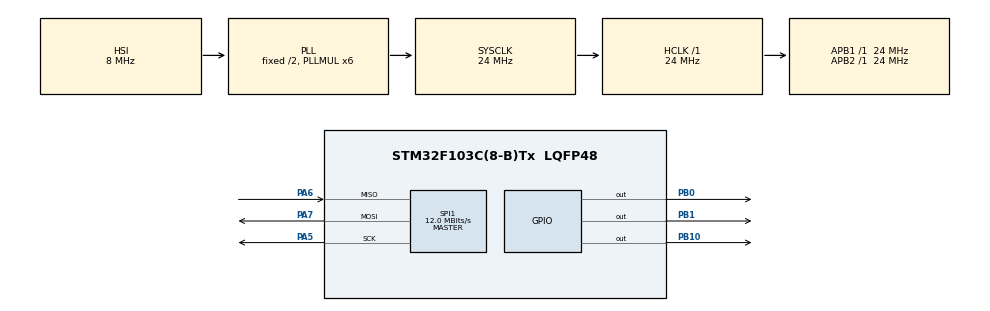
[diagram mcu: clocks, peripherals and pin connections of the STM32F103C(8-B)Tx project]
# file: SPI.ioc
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Mcu.Family=STM32F1
Mcu.Name=STM32F103C(8-B)Tx
Mcu.Package=LQFP48
NVIC.PriorityGroup=NVIC_PRIORITYGROUP_4
PA13.Mode=Serial_Wire
PA13.Signal=SYS_JTMS-SWDIO
PA14.Mode=Serial_Wire
PA14.Signal=SYS_JTCK-SWCLK
PA5.Mode=Full_Duplex_Master
PA5.Signal=SPI1_SCK
PA6.Mode=Full_Duplex_Master
PA6.Signal=SPI1_MISO
PA7.Mode=Full_Duplex_Master
PA7.Signal=SPI1_MOSI
PB0.Signal=GPIO_Output
PB1.Signal=GPIO_Output
PB10.Signal=GPIO_Output
PD0-OSC_IN.Mode=HSE-External-Oscillator
PD0-OSC_IN.Signal=RCC_OSC_IN
PD1-OSC_OUT.Mode=HSE-External-Oscillator
PD1-OSC_OUT.Signal=RCC_OSC_OUT
ProjectManager.HeapSize=0x200
ProjectManager.StackSize=0x400
ProjectManager.TargetToolchain=MDK-ARM V5.32
RCC.AHBFreq_Value=24000000
RCC.APB1Freq_Value=24000000
RCC.APB1TimFreq_Value=24000000
RCC.APB2Freq_Value=24000000
RCC.APB2TimFreq_Value=24000000
RCC.HCLKFreq_Value=24000000
RCC.PLLMUL=RCC_PLL_MUL6
RCC.SYSCLKFreq_VALUE=24000000
RCC.SYSCLKSource=RCC_SYSCLKSOURCE_PLLCLK
RCC.USBFreq_Value=24000000
SPI1.CalculateBaudRate=12.0 MBits/s
SPI1.Direction=SPI_DIRECTION_2LINES
SPI1.Mode=SPI_MODE_MASTER
SPI1.VirtualType=VM_MASTER
board=custom

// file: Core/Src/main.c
/* USER CODE BEGIN Header */
/**
  ******************************************************************************
  * @file           : main.c
  * @brief          : Main program body
  ******************************************************************************
  * @attention
  *
  * Copyright (c) 2026 STMicroelectronics.
  * All rights reserved.
  *
  * This software is licensed under terms that can be found in the LICENSE file
  * in the root directory of this software component.
  * If no LICENSE file comes with this software, it is provided AS-IS.
  *
  ******************************************************************************
  */
/* USER CODE END Header */
#include "main.h"

SPI_HandleTypeDef hspi1;

void SystemClock_Config(void);
static void MX_GPIO_Init(void);
static void MX_SPI1_Init(void);

/* USER CODE BEGIN 0 */
void writeCMDTFT(uint8_t cmd) {
	HAL_GPIO_WritePin(GPIOB,GPIO_PIN_0,0); //cs = 0
	HAL_GPIO_WritePin(GPIOB,GPIO_PIN_1,0); // A0 = 0 -> CMD
	HAL_SPI_Transmit(&hspi1,&cmd,1,1000);
	HAL_GPIO_WritePin(GPIOB,GPIO_PIN_0,1); //cs = 1
}

void writeDATATFT(uint8_t data) {
	HAL_GPIO_WritePin(GPIOB,GPIO_PIN_0,0);
	HAL_GPIO_WritePin(GPIOB,GPIO_PIN_1,1);//A0 = 1 -> DATA
	HAL_SPI_Transmit(&hspi1,&data,1,1000);
	HAL_GPIO_WritePin(GPIOB,GPIO_PIN_0,1);
}

#define LCD_CMD_END 0xFF

typedef struct{
  uint8_t with;
	uint8_t height;
	const uint16_t *data;
}FonDef;

static const uint16_t Font7x10 [] = {
0x0000, 0x0000, 0x0000, 0x0000, 0x0000, 0x0000, 0x0000, 0x0000, 0x0000, 0x0000,  // sp
0x1000, 0x1000, 0x1000, 0x1000, 0x1000, 0x1000, 0x0000, 0x1000, 0x0000, 0x0000,  // !
0x2800, 0x2800, 0x2800, 0x0000, 0x0000, 0x0000, 0x0000, 0x0000, 0x0000, 0x0000,  // "
0x2400, 0x2400, 0x7C00, 0x2400, 0x4800, 0x7C00, 0x4800, 0x4800, 0x0000, 0x0000,  // #
0x3800, 0x5400, 0x5000, 0x3800, 0x1400, 0x5400, 0x5400, 0x3800, 0x1000, 0x0000,  // $
0x2000, 0x5400, 0x5800, 0x3000, 0x2800, 0x5400, 0x1400, 0x0800, 0x0000, 0x0000,  // %
0x1000, 0x2800, 0x2800, 0x1000, 0x3400, 0x4800, 0x4800, 0x3400, 0x0000, 0x0000,  // &
0x1000, 0x1000, 0x1000, 0x0000, 0x0000, 0x0000, 0x0000, 0x0000, 0x0000, 0x0000,  // '
0x0800, 0x1000, 0x2000, 0x2000, 0x2000, 0x2000, 0x2000, 0x2000, 0x1000, 0x0800,  // (
0x2000, 0x1000, 0x0800, 0x0800, 0x0800, 0x0800, 0x0800, 0x0800, 0x1000, 0x2000,  // )
0x1000, 0x3800, 0x1000, 0x2800, 0x0000, 0x0000, 0x0000, 0x0000, 0x0000, 0x0000,  // *
0x0000, 0x0000, 0x1000, 0x1000, 0x7C00, 0x1000, 0x1000, 0x0000, 0x0000, 0x0000,  // +
0x0000, 0x0000, 0x0000, 0x0000, 0x0000, 0x0000, 0x0000, 0x1000, 0x1000, 0x1000,  // ,
0x0000, 0x0000, 0x0000, 0x0000, 0x0000, 0x3800, 0x0000, 0x0000, 0x0000, 0x0000,  // -
0x0000, 0x0000, 0x0000, 0x0000, 0x0000, 0x0000, 0x0000, 0x1000, 0x0000, 0x0000,  // .
0x0800, 0x0800, 0x1000, 0x1000, 0x1000, 0x1000, 0x2000, 0x2000, 0x0000, 0x0000,  // /
0x3800, 0x4400, 0x4400, 0x5400, 0x4400, 0x4400, 0x4400, 0x3800, 0x0000, 0x0000,  // 0
0x1000, 0x3000, 0x5000, 0x1000, 0x1000, 0x1000, 0x1000, 0x1000, 0x0000, 0x0000,  // 1
0x3800, 0x4400, 0x4400, 0x0400, 0x0800, 0x1000, 0x2000, 0x7C00, 0x0000, 0x0000,  // 2
0x3800, 0x4400, 0x0400, 0x1800, 0x0400, 0x0400, 0x4400, 0x3800, 0x0000, 0x0000,  // 3
0x0800, 0x1800, 0x2800, 0x2800, 0x4800, 0x7C00, 0x0800, 0x0800, 0x0000, 0x0000,  // 4
0x7C00, 0x4000, 0x4000, 0x7800, 0x0400, 0x0400, 0x4400, 0x3800, 0x0000, 0x0000,  // 5
0x3800, 0x4400, 0x4000, 0x7800, 0x4400, 0x4400, 0x4400, 0x3800, 0x0000, 0x0000,  // 6
0x7C00, 0x0400, 0x0800, 0x1000, 0x1000, 0x2000, 0x2000, 0x2000, 0x0000, 0x0000,  // 7
0x3800, 0x4400, 0x4400, 0x3800, 0x4400, 0x4400, 0x4400, 0x3800, 0x0000, 0x0000,  // 8
0x3800, 0x4400, 0x4400, 0x4400, 0x3C00, 0x0400, 0x4400, 0x3800, 0x0000, 0x0000,  // 9
0x0000, 0x0000, 0x1000, 0x0000, 0x0000, 0x0000, 0x0000, 0x1000, 0x0000, 0x0000,  // :
0x0000, 0x0000, 0x0000, 0x1000, 0x0000, 0x0000, 0x0000, 0x1000, 0x1000, 0x1000,  // ;
0x0000, 0x0000, 0x0C00, 0x3000, 0x4000, 0x3000, 0x0C00, 0x0000, 0x0000, 0x0000,  // <
0x0000, 0x0000, 0x0000, 0x7C00, 0x0000, 0x7C00, 0x0000, 0x0000, 0x0000, 0x0000,  // =
0x0000, 0x0000, 0x6000, 0x1800, 0x0400, 0x1800, 0x6000, 0x0000, 0x0000, 0x0000,  // >
0x3800, 0x4400, 0x0400, 0x0800, 0x1000, 0x1000, 0x0000, 0x1000, 0x0000, 0x0000,  // ?
0x3800, 0x4400, 0x4C00, 0x5400, 0x5C00, 0x4000, 0x4000, 0x3800, 0x0000, 0x0000,  // @
0x1000, 0x2800, 0x2800, 0x2800, 0x2800, 0x7C00, 0x4400, 0x4400, 0x0000, 0x0000,  // A
0x7800, 0x4400, 0x4400, 0x7800, 0x4400, 0x4400, 0x4400, 0x7800, 0x0000, 0x0000,  // B
0x3800, 0x4400, 0x4000, 0x4000, 0x4000, 0x4000, 0x4400, 0x3800, 0x0000, 0x0000,  // C
0x7000, 0x4800, 0x4400, 0x4400, 0x4400, 0x4400, 0x4800, 0x7000, 0x0000, 0x0000,  // D
0x7C00, 0x4000, 0x4000, 0x7C00, 0x4000, 0x4000, 0x4000, 0x7C00, 0x0000, 0x0000,  // E
0x7C00, 0x4000, 0x4000, 0x7800, 0x4000, 0x4000, 0x4000, 0x4000, 0x0000, 0x0000,  // F
0x3800, 0x4400, 0x4000, 0x4000, 0x5C00, 0x4400, 0x4400, 0x3800, 0x0000, 0x0000,  // G
0x4400, 0x4400, 0x4400, 0x7C00, 0x4400, 0x4400, 0x4400, 0x4400, 0x0000, 0x0000,  // H
0x3800, 0x1000, 0x1000, 0x1000, 0x1000, 0x1000, 0x1000, 0x3800, 0x0000, 0x0000,  // I
0x0400, 0x0400, 0x0400, 0x0400, 0x0400, 0x0400, 0x4400, 0x3800, 0x0000, 0x0000,  // J
0x4400, 0x4800, 0x5000, 0x6000, 0x5000, 0x4800, 0x4800, 0x4400, 0x0000, 0x0000,  // K
0x4000, 0x4000, 0x4000, 0x4000, 0x4000, 0x4000, 0x4000, 0x7C00, 0x0000, 0x0000,  // L
0x4400, 0x6C00, 0x6C00, 0x5400, 0x4400, 0x4400, 0x4400, 0x4400, 0x0000, 0x0000,  // M
0x4400, 0x6400, 0x6400, 0x5400, 0x5400, 0x4C00, 0x4C00, 0x4400, 0x0000, 0x0000,  // N
0x3800, 0x4400, 0x4400, 0x4400, 0x4400, 0x4400, 0x4400, 0x3800, 0x0000, 0x0000,  // O
0x7800, 0x4400, 0x4400, 0x4400, 0x7800, 0x4000, 0x4000, 0x4000, 0x0000, 0x0000,  // P
0x3800, 0x4400, 0x4400, 0x4400, 0x4400, 0x4400, 0x5400, 0x3800, 0x0400, 0x0000,  // Q
0x7800, 0x4400, 0x4400, 0x4400, 0x7800, 0x4800, 0x4800, 0x4400, 0x0000, 0x0000,  // R
0x3800, 0x4400, 0x4000, 0x3000, 0x0800, 0x0400, 0x4400, 0x3800, 0x0000, 0x0000,  // S
0x7C00, 0x1000, 0x1000, 0x1000, 0x1000, 0x1000, 0x1000, 0x1000, 0x0000, 0x0000,  // T
0x4400, 0x4400, 0x4400, 0x4400, 0x4400, 0x4400, 0x4400, 0x3800, 0x0000, 0x0000,  // U
0x4400, 0x4400, 0x4400, 0x2800, 0x2800, 0x2800, 0x1000, 0x1000, 0x0000, 0x0000,  // V
0x4400, 0x4400, 0x5400, 0x5400, 0x5400, 0x6C00, 0x2800, 0x2800, 0x0000, 0x0000,  // W
0x4400, 0x2800, 0x2800, 0x1000, 0x1000, 0x2800, 0x2800, 0x4400, 0x0000, 0x0000,  // X
0x4400, 0x4400, 0x2800, 0x2800, 0x1000, 0x1000, 0x1000, 0x1000, 0x0000, 0x0000,  // Y
0x7C00, 0x0400, 0x0800, 0x1000, 0x1000, 0x2000, 0x4000, 0x7C00, 0x0000, 0x0000,  // Z
0x1800, 0x1000, 0x1000, 0x1000, 0x1000, 0x1000, 0x1000, 0x1000, 0x1000, 0x1800,  // [
0x2000, 0x2000, 0x1000, 0x1000, 0x1000, 0x1000, 0x0800, 0x0800, 0x0000, 0x0000,  /* \ */
0x3000, 0x1000, 0x1000, 0x1000, 0x1000, 0x1000, 0x1000, 0x1000, 0x1000, 0x3000,  // ]
0x1000, 0x2800, 0x2800, 0x4400, 0x0000, 0x0000, 0x0000, 0x0000, 0x0000, 0x0000,  // ^
0x0000, 0x0000, 0x0000, 0x0000, 0x0000, 0x0000, 0x0000, 0x0000, 0x0000, 0xFE00,  // _
0x2000, 0x1000, 0x0000, 0x0000, 0x0000, 0x0000, 0x0000, 0x0000, 0x0000, 0x0000,  // `
0x0000, 0x0000, 0x3800, 0x4400, 0x3C00, 0x4400, 0x4C00, 0x3400, 0x0000, 0x0000,  // a
0x4000, 0x4000, 0x5800, 0x6400, 0x4400, 0x4400, 0x6400, 0x5800, 0x0000, 0x0000,  // b
0x0000, 0x0000, 0x3800, 0x4400, 0x4000, 0x4000, 0x4400, 0x3800, 0x0000, 0x0000,  // c
0x0400, 0x0400, 0x3400, 0x4C00, 0x4400, 0x4400, 0x4C00, 0x3400, 0x0000, 0x0000,  // d
0x0000, 0x0000, 0x3800, 0x4400, 0x7C00, 0x4000, 0x4400, 0x3800, 0x0000, 0x0000,  // e
0x0C00, 0x1000, 0x7C00, 0x1000, 0x1000, 0x1000, 0x1000, 0x1000, 0x0000, 0x0000,  // f
0x0000, 0x0000, 0x3400, 0x4C00, 0x4400, 0x4400, 0x4C00, 0x3400, 0x0400, 0x7800,  // g
0x4000, 0x4000, 0x5800, 0x6400, 0x4400, 0x4400, 0x4400, 0x4400, 0x0000, 0x0000,  // h
0x1000, 0x0000, 0x7000, 0x1000, 0x1000, 0x1000, 0x1000, 0x1000, 0x0000, 0x0000,  // i
0x1000, 0x0000, 0x7000, 0x1000, 0x1000, 0x1000, 0x1000, 0x1000, 0x1000, 0xE000,  // j
0x4000, 0x4000, 0x4800, 0x5000, 0x6000, 0x5000, 0x4800, 0x4400, 0x0000, 0x0000,  // k
0x7000, 0x1000, 0x1000, 0x1000, 0x1000, 0x1000, 0x1000, 0x1000, 0x0000, 0x0000,  // l
0x0000, 0x0000, 0x7800, 0x5400, 0x5400, 0x5400, 0x5400, 0x5400, 0x0000, 0x0000,  // m
0x0000, 0x0000, 0x5800, 0x6400, 0x4400, 0x4400, 0x4400, 0x4400, 0x0000, 0x0000,  // n
0x0000, 0x0000, 0x3800, 0x4400, 0x4400, 0x4400, 0x4400, 0x3800, 0x0000, 0x0000,  // o
0x0000, 0x0000, 0x5800, 0x6400, 0x4400, 0x4400, 0x6400, 0x5800, 0x4000, 0x4000,  // p
0x0000, 0x0000, 0x3400, 0x4C00, 0x4400, 0x4400, 0x4C00, 0x3400, 0x0400, 0x0400,  // q
0x0000, 0x0000, 0x5800, 0x6400, 0x4000, 0x4000, 0x4000, 0x4000, 0x0000, 0x0000,  // r
0x0000, 0x0000, 0x3800, 0x4400, 0x3000, 0x0800, 0x4400, 0x3800, 0x0000, 0x0000,  // s
0x2000, 0x2000, 0x7800, 0x2000, 0x2000, 0x2000, 0x2000, 0x1800, 0x0000, 0x0000,  // t
0x0000, 0x0000, 0x4400, 0x4400, 0x4400, 0x4400, 0x4C00, 0x3400, 0x0000, 0x0000,  // u
0x0000, 0x0000, 0x4400, 0x4400, 0x2800, 0x2800, 0x2800, 0x1000, 0x0000, 0x0000,  // v
0x0000, 0x0000, 0x5400, 0x5400, 0x5400, 0x6C00, 0x2800, 0x2800, 0x0000, 0x0000,  // w
0x0000, 0x0000, 0x4400, 0x2800, 0x1000, 0x1000, 0x2800, 0x4400, 0x0000, 0x0000,  // x
0x0000, 0x0000, 0x4400, 0x4400, 0x2800, 0x2800, 0x1000, 0x1000, 0x1000, 0x6000,  // y
0x0000, 0x0000, 0x7C00, 0x0800, 0x1000, 0x2000, 0x4000, 0x7C00, 0x0000, 0x0000,  // z
0x1800, 0x1000, 0x1000, 0x1000, 0x2000, 0x2000, 0x1000, 0x1000, 0x1000, 0x1800,  // {
0x1000, 0x1000, 0x1000, 0x1000, 0x1000, 0x1000, 0x1000, 0x1000, 0x1000, 0x1000,  // |
0x3000, 0x1000, 0x1000, 0x1000, 0x0800, 0x0800, 0x1000, 0x1000, 0x1000, 0x3000,  // }
0x0000, 0x0000, 0x0000, 0x7400, 0x4C00, 0x0000, 0x0000, 0x0000, 0x0000, 0x0000,  // ~
};

FonDef mFont7x10;

static const uint8_t cmdList[] = {
	//command   //length     //data
	0xB1,        0x03,       0x01,0x2C,0x2D, //frame rate control (nomal mode)
	0xB2,        0x03,       0x01,0x2C,0x2D, //Frame Rate Control ( Idle mode )
	0xB3,        0x06,       0x01,0x2C,0x2D,0x01,0x2C,0x2D, //Frame Rate Control (Partial mode )
	0xB4,        0x01,       0x07,//Display inversion control
	0xC0,        0x03,       0xA2,0x02,0x84,//Power Control 1
	0xC1,        0x03,       0xC5,//Power Control 2
	0xC2,        0x03,       0x0A,0x00,//Power Control 3
	0xC3,        0x03,       0x8A,0x2A,//Power Control 4
	0xC4,        0x03,       0x8A,0xEE,//Power Control 5
	0xC5,        0x01,       0x0E,//VCOM Control 1
	0xE0,        0x16,       0x02,0x1C,0x07,0x12,0x37,0x32,0x29,0x2D,0x29,0x25,0x2B,0x39,0x00,0x01,0x03,0x10,//Gamma adjustment(+ polarity)
	0xE1,        0x16,       0x03,0x1D,0x07,0x06,0x2E,0x2C,0x29,0x2D,0x2E,0x2E,0x37,0x3F,0x00,0x00,0x02,0x10,//Gamma adjustment(- polarity)
	LCD_CMD_END,LCD_CMD_END
};

void cmd_handle(const uint8_t *list) {
	 uint8_t index = 0;
	 uint8_t cmd = 0;
	 uint8_t num = 0;

	 while(1) {
		 cmd = *list++;
		 num = *list++;
		 if(cmd == LCD_CMD_END) {
			 break;
		 }else {
			 for(index = 0;index<num;index++) {
				  writeDATATFT(*list++);
			 }
		 }
	 }
}

void setPos(uint8_t x1, uint8_t y1, uint8_t x2, uint8_t y2){
    writeCMDTFT(0x2A);
    writeDATATFT(0x00);
    writeDATATFT(x1);
    writeDATATFT(0x00);
    writeDATATFT(x2);
    writeCMDTFT(0x2B);
    writeDATATFT(0x00);
    writeDATATFT(y1);
    writeDATATFT(0x00);
    writeDATATFT(y2);
}

void fullDisplay(uint16_t color) {
	writeCMDTFT(0x2C);
	uint16_t i;
	for(i = 0;i<128*160;i++) {
		  writeDATATFT(color >> 8);
		  writeDATATFT(color & 0xFF);
	}
}

void drawPixel(uint8_t x,uint8_t y,uint8_t color) {
  if(x >= 128 || y>=160) {return;}
	setPos(x,y,x+1,y+1);
	writeCMDTFT(0x2C);
	writeDATATFT(color >> 8);
	writeDATATFT(color & 0xFF);
}

void  drawChar(uint8_t x,uint8_t y,char ch,FonDef font,uint16_t color,uint16_t bg) {
	 uint16_t i,j;
	 uint16_t pixelData;

	 for(i=0;i<font.height;i++) {
		     pixelData = font.data[(ch-32)*font.height+i];
		  for(j = 0;j<font.with;j++) {
				 if((pixelData << j) & 0x8000) {
					   drawPixel(x+j,y+i,color);
				 }else {
					   drawPixel(x+j,y+i,bg);
				 }
			}
	 }
}

void drawString(uint8_t x,uint8_t y,char *str,FonDef font,uint16_t color,uint16_t bg) {
	  while(*str) {
			 drawChar(x,y,*str,font,color,bg);
			 x+= font.with;
			 str++;
		}
}

void INITTFT() {
	//HW RESET
	 HAL_GPIO_WritePin(GPIOB,GPIO_PIN_10,0);
	 HAL_Delay(20);
	 HAL_GPIO_WritePin(GPIOB,GPIO_PIN_10,1);
	 HAL_Delay(200);
	 //SW RESET
	 writeCMDTFT(0x01);
	 HAL_Delay(200);
	 //sleep out
	 writeCMDTFT(0x11);

	 cmd_handle(cmdList);

	 writeCMDTFT(0x36);//MEMORY DATA ACCESS CONTROL
	 writeDATATFT(0x08);

	 writeCMDTFT(0x3A);//INTERFACE PIXEL FORMAT
	 writeDATATFT(0x05);

	 writeCMDTFT(0x20);//DISPLAY INVERSTION OFF

	 setPos(0,0,128,160);

	 //DISPLAY ON
	 writeCMDTFT(0x29);
	 HAL_Delay(100);
}

/* USER CODE END 0 */

int main(void)
{

  /* MCU Configuration--------------------------------------------------------*/

  /* Reset of all peripherals, Initializes the Flash interface and the Systick. */
  HAL_Init();

  /* Configure the system clock */
  SystemClock_Config();

  /* Initialize all configured peripherals */
  MX_GPIO_Init();
  MX_SPI1_Init();
  /* USER CODE BEGIN 2 */
	HAL_GPIO_WritePin(GPIOB,GPIO_PIN_0,1);
	mFont7x10.with = 7;
	mFont7x10.height = 10;
	mFont7x10.data = Font7x10;
  INITTFT();

	  fullDisplay(0xF374);
	  drawString(10,20,"CHUC MUNG NGAY",mFont7x10,0xFFFF,0xF374);
    HAL_Delay(1000);
		drawString(40,40,"20/11",mFont7x10,0xFFFF,0xF374);
		HAL_Delay(1000);
		drawString(0,60,"CHI COT VA CHI CUN",mFont7x10,0xFFFF,0xF374);
		drawString(10,80,"That La Vui Ve",mFont7x10,0xFFFF,0xF374);
		drawString(30,100,"MANH KHOE",mFont7x10,0xFFFF,0xF374);
		drawString(0,120,"Happy November 20th",mFont7x10,0xFFFF,0xF374);
  /* USERCODE END 2 */
  /* Infinite loop */
  while (1)
  {

  }
}

void SystemClock_Config(void)
{
  RCC_OscInitTypeDef RCC_OscInitStruct = {0};
  RCC_ClkInitTypeDef RCC_ClkInitStruct = {0};

  /** Initializes the RCC Oscillators according to the specified parameters
  * in the RCC_OscInitTypeDef structure.
  */
  RCC_OscInitStruct.OscillatorType = RCC_OSCILLATORTYPE_HSI;
  RCC_OscInitStruct.HSIState = RCC_HSI_ON;
  RCC_OscInitStruct.HSICalibrationValue = RCC_HSICALIBRATION_DEFAULT;
  RCC_OscInitStruct.PLL.PLLState = RCC_PLL_ON;
  RCC_OscInitStruct.PLL.PLLSource = RCC_PLLSOURCE_HSI_DIV2;
  RCC_OscInitStruct.PLL.PLLMUL = RCC_PLL_MUL6;
  if (HAL_RCC_OscConfig(&RCC_OscInitStruct) != HAL_OK)
  {
    Error_Handler();
  }

  /** Initializes the CPU, AHB and APB buses clocks
  */
  RCC_ClkInitStruct.ClockType = RCC_CLOCKTYPE_HCLK|RCC_CLOCKTYPE_SYSCLK
                              |RCC_CLOCKTYPE_PCLK1|RCC_CLOCKTYPE_PCLK2;
  RCC_ClkInitStruct.SYSCLKSource = RCC_SYSCLKSOURCE_PLLCLK;
  RCC_ClkInitStruct.AHBCLKDivider = RCC_SYSCLK_DIV1;
  RCC_ClkInitStruct.APB1CLKDivider = RCC_HCLK_DIV1;
  RCC_ClkInitStruct.APB2CLKDivider = RCC_HCLK_DIV1;

  if (HAL_RCC_ClockConfig(&RCC_ClkInitStruct, FLASH_LATENCY_0) != HAL_OK)
  {
    Error_Handler();
  }
}

static void MX_SPI1_Init(void)
{

  /* SPI1 parameter configuration*/
  hspi1.Instance = SPI1;
  hspi1.Init.Mode = SPI_MODE_MASTER;
  hspi1.Init.Direction = SPI_DIRECTION_2LINES;
  hspi1.Init.DataSize = SPI_DATASIZE_8BIT;
  hspi1.Init.CLKPolarity = SPI_POLARITY_LOW;
  hspi1.Init.CLKPhase = SPI_PHASE_1EDGE;
  hspi1.Init.NSS = SPI_NSS_SOFT;
  hspi1.Init.BaudRatePrescaler = SPI_BAUDRATEPRESCALER_2;
  hspi1.Init.FirstBit = SPI_FIRSTBIT_MSB;
  hspi1.Init.TIMode = SPI_TIMODE_DISABLE;
  hspi1.Init.CRCCalculation = SPI_CRCCALCULATION_DISABLE;
  hspi1.Init.CRCPolynomial = 10;
  if (HAL_SPI_Init(&hspi1) != HAL_OK)
  {
    Error_Handler();
  }

}

static void MX_GPIO_Init(void)
{
  GPIO_InitTypeDef GPIO_InitStruct = {0};

  /* GPIO Ports Clock Enable */
  __HAL_RCC_GPIOD_CLK_ENABLE();
  __HAL_RCC_GPIOA_CLK_ENABLE();
  __HAL_RCC_GPIOB_CLK_ENABLE();

  /*Configure GPIO pin Output Level */
  HAL_GPIO_WritePin(GPIOB, GPIO_PIN_0|GPIO_PIN_1|GPIO_PIN_10, GPIO_PIN_RESET);

  /*Configure GPIO pins : PB0 PB1 PB10 */
  GPIO_InitStruct.Pin = GPIO_PIN_0|GPIO_PIN_1|GPIO_PIN_10;
  GPIO_InitStruct.Mode = GPIO_MODE_OUTPUT_PP;
  GPIO_InitStruct.Pull = GPIO_NOPULL;
  GPIO_InitStruct.Speed = GPIO_SPEED_FREQ_LOW;
  HAL_GPIO_Init(GPIOB, &GPIO_InitStruct);

}

void Error_Handler(void)
{
  __disable_irq();
  while (1)
  {
  }
}
